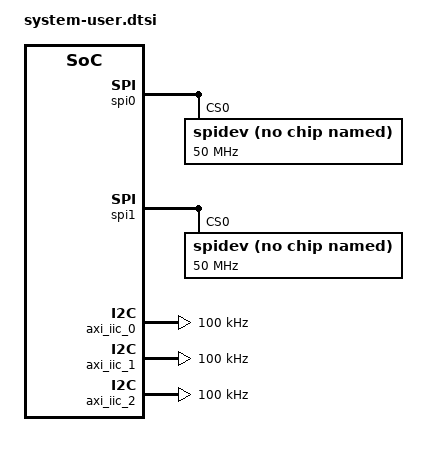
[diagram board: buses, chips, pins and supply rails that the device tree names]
/include/ "system-conf.dtsi"
/ {
};
	&spi0 {
		status = "okay";
		spidev@0 {
			compatible = "rohm,dh2228fv";
			spi-max-frequency = <50000000>;
			reg = <0>;
		};
	};
	
	&spi1 {
		status = "okay";
		spidev@0 {
			compatible = "rohm,dh2228fv";
			spi-max-frequency = <50000000>;
			reg = <0>;
		};
	};

	&axi_iic_0 {
		clock-frequency = <100000>;
		status = "okay";
	};

	&axi_iic_1 {
		clock-frequency = <100000>;
		status = "okay";
	};

	&axi_iic_2 {
		clock-frequency = <100000>;
		status = "okay";

	};

